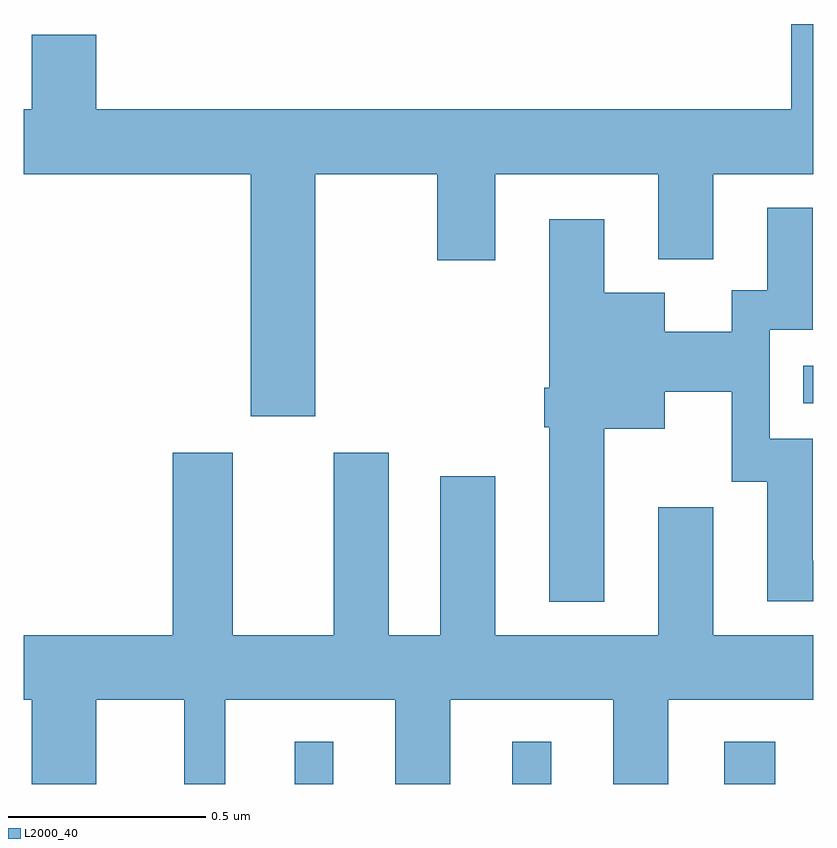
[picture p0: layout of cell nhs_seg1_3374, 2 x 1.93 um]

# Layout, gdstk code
import gdstk
lib = gdstk.Library(unit=1e-6, precision=1e-09)
def R(c, l, rs):  # rectangles x0, y0, x1, y1
    for r in rs: c.add(gdstk.rectangle(r[:2], r[2:], *l))
def P(c, l, *ps):  # polygons
    for p in ps: c.add(gdstk.Polygon(p, *l))
L2000_40 = (2000, 40)

nhs_seg1_3374 = lib.new_cell('nhs_seg1_3374')
R(nhs_seg1_3374, L2000_40, [(153.686,538.199,153.784,538.306), (154.238,538.199,154.336,538.306), (154.775,538.199,154.903,538.306), (154.975,539.163,155,539.259)])
P(nhs_seg1_3374, L2000_40, [(153.739,539.744),(154.048,539.744),(154.048,539.526),(154.195,539.526),(154.195,539.744),(154.607,539.744),(154.607,539.528),(154.747,539.528),(154.747,539.744),(155,539.744),(155,540.124),(154.944,540.124),(154.944,539.908),(153.184,539.908),(153.184,540.097),(153.02,540.097),(153.02,539.908),(153,539.908),(153,539.744),(153.575,539.744),(153.575,539.13),(153.739,539.13)],
  [(154.471,539.099),(154.624,539.099),(154.624,539.192),(154.794,539.192),(154.794,538.965),(154.883,538.965),(154.883,538.662),(155,538.662),(155,538.764),(154.999,538.764),(154.999,539.073),(154.89,539.073),(154.89,539.349),(154.999,539.349),(154.999,539.659),(154.883,539.659),(154.883,539.45),(154.793,539.45),(154.793,539.344),(154.624,539.344),(154.624,539.443),(154.471,539.443),(154.471,539.629),(154.331,539.629),(154.331,539.203),(154.319,539.203),(154.319,539.103),(154.331,539.103),(154.331,538.661),(154.471,538.661)],
  [(153.184,538.412),(153.407,538.412),(153.407,538.199),(153.511,538.199),(153.511,538.412),(153.941,538.412),(153.941,538.199),(154.081,538.199),(154.081,538.412),(154.493,538.412),(154.493,538.199),(154.633,538.199),(154.633,538.412),(155,538.412),(155,538.576),(154.747,538.576),(154.747,538.9),(154.607,538.9),(154.607,538.576),(154.195,538.576),(154.195,538.978),(154.055,538.978),(154.055,538.576),(153.925,538.576),(153.925,539.038),(153.785,539.038),(153.785,538.576),(153.529,538.576),(153.529,539.038),(153.377,539.038),(153.377,538.576),(153,538.576),(153,538.412),(153.02,538.412),(153.02,538.199),(153.184,538.199)])

lib.write_gds('nhs_seg1_3374.gds')
